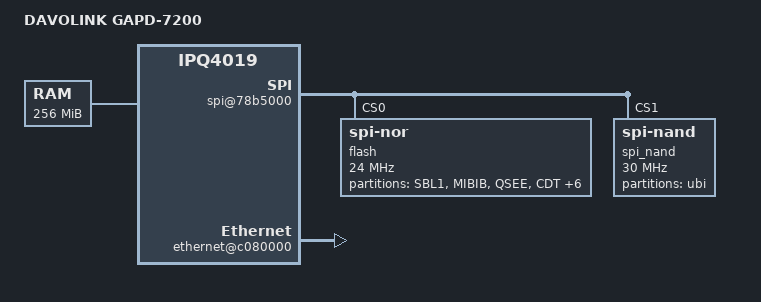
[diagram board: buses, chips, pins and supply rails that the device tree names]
/dts-v1/;

/ {
	#address-cells = <0x01>;
	#size-cells = <0x01>;
	model = "DAVOLINK GAPD-7200";
	compatible = "Davolink,gapd-7200", "qcom,ipq4019";

	chosen {
		bootargs = "ubi.mtd=ubi rootfstype=squashfs";
	};

	aliases {
		spi0 = "/soc/spi@78b5000";
		ethernet0 = "/soc/ethernet@c080000";
	};

	memory {
		device_type = "memory";
		reg = <0x80000000 0x10000000>;
	};

	soc {
		#address-cells = <0x01>;
		#size-cells = <0x01>;
		ranges;
		compatible = "simple-bus";

		pinctrl@1000000 {
			compatible = "qcom,ipq4019-pinctrl";
			reg = <0x1000000 0x300000>;
			gpio-controller;
			gpio-ranges = <&tlmm 0 0 100>;
			#gpio-cells = <0x02>;
			interrupt-controller;
			#interrupt-cells = <0x02>;

			tlmm: serial_pinmux {
				mux {
					pins = "gpio60", "gpio61";
					function = "blsp_uart0";
					bias-disable;
				};
			};

			spi_0_pinmux {
				mux {
					function = "blsp_spi0";
					pins = "gpio55", "gpio56", "gpio57";
					drive-strength = <0x0c>;
					bias-disable;
				};

				mux_cs {
					function = "gpio";
					pins = "gpio54", "gpio59";
					drive-strength = <0x02>;
					bias-disable;
					output-high;
				};
			};
		};

		spi@78b5000 {
			compatible = "qcom,spi-qup-v2.2.1";
			reg = <0x78b5000 0x600>;
			#address-cells = <0x01>;
			#size-cells = <0x00>;
			status = "okay";

			flash@0 {
				compatible = "jedec,spi-nor";
				reg = <0x00>;
				spi-max-frequency = <24000000>;
				#address-cells = <0x01>;
				#size-cells = <0x01>;

				partitions {
					compatible = "fixed-partitions";
					#address-cells = <0x01>;
					#size-cells = <0x01>;

					partition@0 {
						label = "SBL1";
						reg = <0x00 0x40000>;
						read-only;
					};

					partition@40000 {
						label = "MIBIB";
						reg = <0x40000 0x20000>;
						read-only;
					};

					partition@60000 {
						label = "QSEE";
						reg = <0x60000 0x60000>;
						read-only;
					};

					partition@c0000 {
						label = "CDT";
						reg = <0xc0000 0x10000>;
						read-only;
					};

					partition@d0000 {
						label = "DDRPARAMS";
						reg = <0xd0000 0x10000>;
						read-only;
					};

					partition@e0000 {
						label = "APPSBLENV";
						reg = <0xe0000 0x10000>;
					};

					partition@f0000 {
						label = "APPSBL";
						reg = <0xf0000 0x80000>;
						read-only;
					};

					art: partition@170000 {
						label = "ART";
						reg = <0x170000 0x10000>;
						read-only;

						precal_f0: precal@1000 {
							reg = <0x1000 0x2f20>;
						};

						precal_f1: precal@5000 {
							reg = <0x5000 0x2f20>;
						};
					};

					partition@180000 {
						label = "BOOTCONFIG";
						reg = <0x180000 0x40000>;
						read-only;
					};

					config: partition@1c0000 {
						label = "RESV";
						reg = <0x1c0000 0x240000>;
						read-only;

						macaddr_auth: macaddr@0 {
							reg = <0x00 0x06>;
						};
					};
				};
			};

			spi_nand@1 {
				compatible = "spi-nand";
				reg = <0x01>;
				spi-max-frequency = <30000000>;

				partitions {
					compatible = "fixed-partitions";
					#address-cells = <0x01>;
					#size-cells = <0x01>;

					partition@0 {
						label = "ubi";
						reg = <0x00 0x8000000>; /* مساحة الـ NAND بالكامل للسوفت وير */
					};
				};
			};
		};

		ethernet@c080000 {
			compatible = "qcom,ipq4019-ess-edma";
			reg = <0xc080000 0x8000>;
			status = "okay";
		};
	};
};
